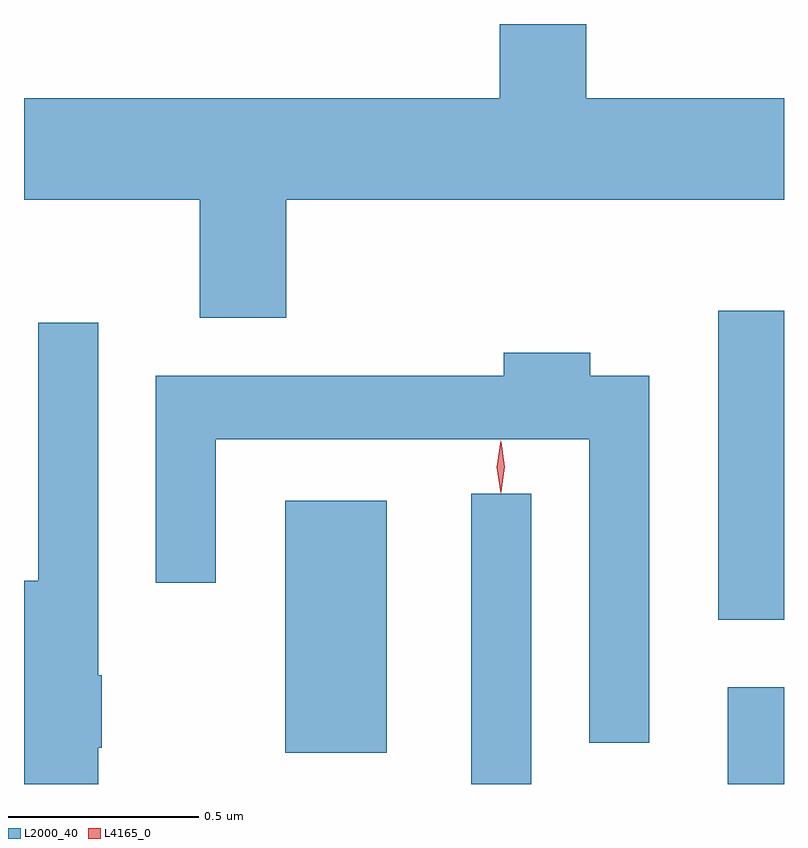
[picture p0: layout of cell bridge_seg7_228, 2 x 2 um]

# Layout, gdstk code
import gdstk
lib = gdstk.Library(unit=1e-6, precision=1e-09)
def R(c, l, rs):  # rectangles x0, y0, x1, y1
    for r in rs: c.add(gdstk.rectangle(r[:2], r[2:], *l))
def P(c, l, *ps):  # polygons
    for p in ps: c.add(gdstk.Polygon(p, *l))
L2000_40 = (2000, 40)
L4165_0 = (4165, 0)

bridge_seg7_228 = lib.new_cell('bridge_seg7_228')
R(bridge_seg7_228, L2000_40, [(1484.486,1710.559,1484.644,1711.323), (1485.161,1710.559,1485.309,1710.814), (1483.996,1710.641,1484.264,1711.304), (1485.136,1710.991,1485.309,1711.804)])
P(bridge_seg7_228, L2000_40, [(1483.309,1712.096),(1483.771,1712.096),(1483.771,1711.786),(1483.999,1711.786),(1483.999,1712.096),(1485.309,1712.096),(1485.309,1712.364),(1484.789,1712.364),(1484.789,1712.559),(1484.561,1712.559),(1484.561,1712.364),(1483.309,1712.364)],
  [(1483.504,1710.655),(1483.514,1710.655),(1483.514,1710.845),(1483.504,1710.845),(1483.504,1711.773),(1483.346,1711.773),(1483.346,1711.094),(1483.309,1711.094),(1483.309,1710.559),(1483.504,1710.559)],
  [(1484.954,1711.634),(1484.799,1711.634),(1484.799,1711.694),(1484.571,1711.694),(1484.571,1711.634),(1483.656,1711.634),(1483.656,1711.088),(1483.814,1711.088),(1483.814,1711.466),(1484.796,1711.466),(1484.796,1710.668),(1484.954,1710.668)])
P(bridge_seg7_228, L4165_0, [(1484.565,1711.327),(1484.564,1711.328),(1484.555,1711.394),(1484.564,1711.46),(1484.564,1711.46),(1484.565,1711.46),(1484.574,1711.394),(1484.565,1711.328)],
  [(1484.563,1711.323),(1484.563,1711.324),(1484.553,1711.393),(1484.563,1711.462),(1484.563,1711.463),(1484.564,1711.462),(1484.573,1711.393),(1484.564,1711.324)])

lib.write_gds('bridge_seg7_228.gds')
